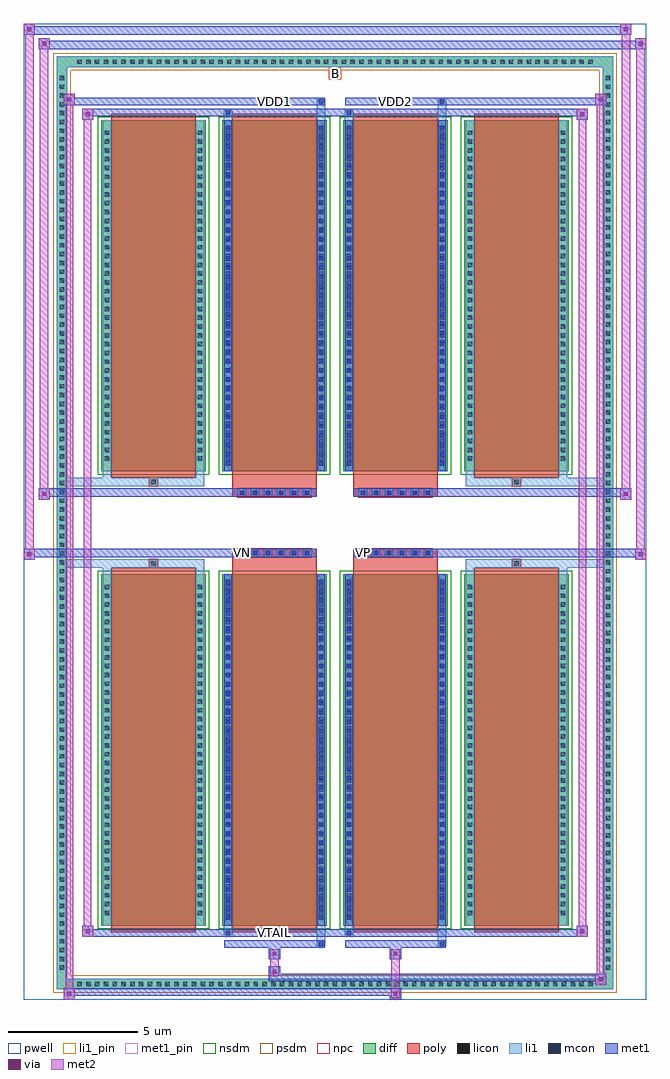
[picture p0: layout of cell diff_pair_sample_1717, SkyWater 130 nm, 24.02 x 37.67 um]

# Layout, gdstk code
import gdstk
lib = gdstk.Library(unit=1e-6, precision=5e-09)
def R(c, l, rs):  # rectangles x0, y0, x1, y1
    for r in rs: c.add(gdstk.rectangle(r[:2], r[2:], *l))
def A(c, l, x, y, w, h, nx, ny, dx, dy):  # array of equal rectangles
    R(c, l, [(x+i*dx, y+j*dy, x+i*dx+w, y+j*dy+h) for i in range(nx) for j in range(ny)])
def P(c, l, *ps):  # polygons
    for p in ps: c.add(gdstk.Polygon(p, *l))
pwell = (64, 44)
diff = (65, 20)
poly = (66, 20)
licon = (66, 44)
li1_pin = (67, 16)
li1 = (67, 20)
mcon = (67, 44)
met1_pin = (68, 16)
met1 = (68, 20)
via = (68, 44)
met2 = (69, 20)
nsdm = (93, 44)
psdm = (94, 20)
npc = (95, 20)

diff_pair_sample_1717 = lib.new_cell('diff_pair_sample_1717')
R(diff_pair_sample_1717, pwell, [(-12.01,-18.4,12.01,19.27), (-9.33,-16.59,-0.01,-0.795), (0.01,-16.59,9.33,-0.795), (-9.33,0.795,-0.01,16.59), (0.01,0.795,9.33,16.59)])
A(diff_pair_sample_1717, diff, -10.065, -18, 0.41, 0.41, 59, 2, 0.34, 35.59)
A(diff_pair_sample_1717, diff, -10.74, -17.375, 0.41, 0.41, 1, 102, 0, 0.34)
A(diff_pair_sample_1717, diff, 10.33, -17.375, 0.41, 0.41, 1, 102, 0, 0.34)
A(diff_pair_sample_1717, diff, -9.02, -15.545, 4.03, 13.56, 4, 2, 4.67, 17.53)
R(diff_pair_sample_1717, diff, [(-10.065,-18,10.065,-17.59), (-10.74,-17.375,-10.33,17.375), (10.33,-17.375,10.74,17.375), (-10.065,17.59,10.065,18)])
P(diff_pair_sample_1717, diff, [(10.74,18),(-10.74,18),(-10.74,-17.59),(-10.33,-17.59),(-10.33,17.59),(10.33,17.59),(10.33,-17.59),(-10.33,-17.59),(-10.74,-17.59),(-10.74,-18),(10.74,-18)])
A(diff_pair_sample_1717, poly, -8.63, -15.795, 3.25, 14.06, 4, 2, 4.67, 17.53)
A(diff_pair_sample_1717, poly, -3.75, -1.325, 0.33, 0.33, 6, 2, 0.5, 2.32)
A(diff_pair_sample_1717, poly, 0.92, -1.325, 0.33, 0.33, 6, 2, 0.5, 2.32)
R(diff_pair_sample_1717, poly, [(-7.17,-1.735,-6.84,-1.405), (-7.17,-1.735,-6.84,-1.405), (-3.96,-1.735,-0.71,-1.325), (0.71,-1.735,3.96,-1.325), (6.84,-1.735,7.17,-1.405), (6.84,-1.735,7.17,-1.405), (-3.96,-1.325,-0.71,-0.995), (0.71,-1.325,3.96,-0.995), (-3.96,0.995,-0.71,1.325), (0.71,0.995,3.96,1.325), (-3.96,1.325,-0.71,1.735), (0.71,1.325,3.96,1.735), (-7.17,1.405,-6.84,1.735), (-7.17,1.405,-6.84,1.735), (6.84,1.405,7.17,1.735), (6.84,1.405,7.17,1.735)])
A(diff_pair_sample_1717, licon, -9.945, -17.88, 0.17, 0.17, 59, 2, 0.34, 35.59)
A(diff_pair_sample_1717, licon, -10.62, -17.255, 0.17, 0.17, 1, 102, 0, 0.34)
A(diff_pair_sample_1717, licon, 10.45, -17.255, 0.17, 0.17, 1, 102, 0, 0.34)
A(diff_pair_sample_1717, licon, -8.88, -15.14, 0.17, 0.17, 1, 38, 0, 0.34)
A(diff_pair_sample_1717, licon, -5.3, -15.14, 0.17, 0.17, 1, 38, 0, 0.34)
A(diff_pair_sample_1717, licon, -4.21, -15.14, 0.17, 0.17, 1, 38, 0, 0.34)
A(diff_pair_sample_1717, licon, -0.63, -15.14, 0.17, 0.17, 1, 38, 0, 0.34)
A(diff_pair_sample_1717, licon, 0.46, -15.14, 0.17, 0.17, 1, 38, 0, 0.34)
A(diff_pair_sample_1717, licon, 4.04, -15.14, 0.17, 0.17, 1, 38, 0, 0.34)
A(diff_pair_sample_1717, licon, 5.13, -15.14, 0.17, 0.17, 1, 38, 0, 0.34)
A(diff_pair_sample_1717, licon, 8.71, -15.14, 0.17, 0.17, 1, 38, 0, 0.34)
A(diff_pair_sample_1717, licon, -3.67, -1.245, 0.17, 0.17, 6, 2, 0.5, 2.32)
A(diff_pair_sample_1717, licon, 1, -1.245, 0.17, 0.17, 6, 2, 0.5, 2.32)
A(diff_pair_sample_1717, licon, -8.88, 2.39, 0.17, 0.17, 1, 38, 0, 0.34)
A(diff_pair_sample_1717, licon, -5.3, 2.39, 0.17, 0.17, 1, 38, 0, 0.34)
A(diff_pair_sample_1717, licon, -4.21, 2.39, 0.17, 0.17, 1, 38, 0, 0.34)
A(diff_pair_sample_1717, licon, -0.63, 2.39, 0.17, 0.17, 1, 38, 0, 0.34)
A(diff_pair_sample_1717, licon, 0.46, 2.39, 0.17, 0.17, 1, 38, 0, 0.34)
A(diff_pair_sample_1717, licon, 4.04, 2.39, 0.17, 0.17, 1, 38, 0, 0.34)
A(diff_pair_sample_1717, licon, 5.13, 2.39, 0.17, 0.17, 1, 38, 0, 0.34)
A(diff_pair_sample_1717, licon, 8.71, 2.39, 0.17, 0.17, 1, 38, 0, 0.34)
R(diff_pair_sample_1717, licon, [(-7.09,-1.655,-6.92,-1.485), (6.92,-1.655,7.09,-1.485), (-7.09,1.485,-6.92,1.655), (6.92,1.485,7.09,1.655)])
R(diff_pair_sample_1717, li1_pin, [(-0.25,17.09,0.25,17.59)])
A(diff_pair_sample_1717, li1, -10.025, -17.96, 0.33, 0.33, 59, 2, 0.34, 35.59)
A(diff_pair_sample_1717, li1, -10.7, -17.335, 0.33, 0.33, 1, 102, 0, 0.34)
A(diff_pair_sample_1717, li1, 10.37, -17.335, 0.33, 0.33, 1, 102, 0, 0.34)
A(diff_pair_sample_1717, li1, -4.21, -15.33, 0.17, 0.17, 1, 37, 0, 0.36)
A(diff_pair_sample_1717, li1, -0.63, -15.33, 0.17, 0.17, 1, 37, 0, 0.36)
A(diff_pair_sample_1717, li1, 0.46, -15.33, 0.17, 0.17, 1, 37, 0, 0.36)
A(diff_pair_sample_1717, li1, 4.04, -15.33, 0.17, 0.17, 1, 37, 0, 0.36)
A(diff_pair_sample_1717, li1, -8.96, -15.22, 0.33, 0.33, 1, 38, 0, 0.34)
A(diff_pair_sample_1717, li1, -5.38, -15.22, 0.33, 0.33, 1, 38, 0, 0.34)
A(diff_pair_sample_1717, li1, -4.29, -15.22, 0.33, 0.33, 1, 38, 0, 0.34)
A(diff_pair_sample_1717, li1, -0.71, -15.22, 0.33, 0.33, 1, 38, 0, 0.34)
A(diff_pair_sample_1717, li1, 0.38, -15.22, 0.33, 0.33, 1, 38, 0, 0.34)
A(diff_pair_sample_1717, li1, 3.96, -15.22, 0.33, 0.33, 1, 38, 0, 0.34)
A(diff_pair_sample_1717, li1, 5.05, -15.22, 0.33, 0.33, 1, 38, 0, 0.34)
A(diff_pair_sample_1717, li1, 8.63, -15.22, 0.33, 0.33, 1, 38, 0, 0.34)
A(diff_pair_sample_1717, li1, -3.75, -1.325, 0.33, 0.33, 6, 2, 0.5, 2.32)
A(diff_pair_sample_1717, li1, 0.92, -1.325, 0.33, 0.33, 6, 2, 0.5, 2.32)
A(diff_pair_sample_1717, li1, -4.21, 2.2, 0.17, 0.17, 1, 37, 0, 0.36)
A(diff_pair_sample_1717, li1, -0.63, 2.2, 0.17, 0.17, 1, 37, 0, 0.36)
A(diff_pair_sample_1717, li1, 0.46, 2.2, 0.17, 0.17, 1, 37, 0, 0.36)
A(diff_pair_sample_1717, li1, 4.04, 2.2, 0.17, 0.17, 1, 37, 0, 0.36)
A(diff_pair_sample_1717, li1, -8.96, 2.31, 0.33, 0.33, 1, 38, 0, 0.34)
A(diff_pair_sample_1717, li1, -5.38, 2.31, 0.33, 0.33, 1, 38, 0, 0.34)
A(diff_pair_sample_1717, li1, -4.29, 2.31, 0.33, 0.33, 1, 38, 0, 0.34)
A(diff_pair_sample_1717, li1, -0.71, 2.31, 0.33, 0.33, 1, 38, 0, 0.34)
A(diff_pair_sample_1717, li1, 0.38, 2.31, 0.33, 0.33, 1, 38, 0, 0.34)
A(diff_pair_sample_1717, li1, 3.96, 2.31, 0.33, 0.33, 1, 38, 0, 0.34)
A(diff_pair_sample_1717, li1, 5.05, 2.31, 0.33, 0.33, 1, 38, 0, 0.34)
A(diff_pair_sample_1717, li1, 8.63, 2.31, 0.33, 0.33, 1, 38, 0, 0.34)
R(diff_pair_sample_1717, li1, [(-10.74,-18,-10.33,-17.59), (-10.74,-18,-10.33,-17.59), (-10.33,-18,10.33,-17.59), (10.33,-18,10.74,-17.59), (10.33,-18,10.74,-17.59), (-10.74,-17.59,-10.33,17.59), (10.33,-17.59,10.74,17.59), (-0.71,-16.35,-0.38,-15.545), (-0.63,-16.35,-0.46,-16.18), (3.96,-16.35,4.29,-15.545), (4.04,-16.35,4.21,-16.18), (-4.29,-15.92,-3.96,-15.545), (-4.21,-15.92,-4.04,-15.75), (0.38,-15.92,0.71,-15.545), (0.46,-15.92,0.63,-15.75), (-8.96,-15.545,-8.63,-1.985), (-5.38,-15.545,-5.05,-1.985), (-4.29,-15.545,-3.96,-1.985), (-0.71,-15.545,-0.38,-1.985), (0.38,-15.545,0.71,-1.985), (3.96,-15.545,4.29,-1.985), (5.05,-15.545,5.38,-1.985), (8.63,-15.545,8.96,-1.985), (-4.21,-15.33,-4.04,-2.2), (-0.63,-15.33,-0.46,-2.2), (0.46,-15.33,0.63,-2.2), (4.04,-15.33,4.21,-2.2), (-8.96,-1.985,-8.63,-1.405), (-5.38,-1.985,-5.05,-1.405), (5.05,-1.985,5.38,-1.405), (8.63,-1.985,8.96,-1.405), (-10.74,-1.735,-7.17,-1.405), (-8.96,-1.735,-7.17,-1.405), (-7.17,-1.735,-6.84,-1.405), (-6.84,-1.735,-5.05,-1.405), (5.05,-1.735,6.84,-1.405), (6.84,-1.735,7.17,-1.405), (6.84,-1.735,10.74,-1.405), (7.17,-1.735,8.96,-1.405), (-10.74,1.405,-7.17,1.735), (-8.96,1.405,-7.17,1.735), (-8.96,1.405,-8.63,1.985), (-7.17,1.405,-6.84,1.735), (-6.84,1.405,-5.05,1.735), (-5.38,1.405,-5.05,1.985), (5.05,1.405,6.84,1.735), (5.05,1.405,5.38,1.985), (6.84,1.405,7.17,1.735), (6.84,1.405,10.74,1.735), (7.17,1.405,8.96,1.735), (8.63,1.405,8.96,1.985), (-8.96,1.985,-8.63,15.545), (-5.38,1.985,-5.05,15.545), (-4.29,1.985,-3.96,15.545), (-0.71,1.985,-0.38,15.545), (0.38,1.985,0.71,15.545), (3.96,1.985,4.29,15.545), (5.05,1.985,5.38,15.545), (8.63,1.985,8.96,15.545), (-4.21,2.2,-4.04,15.33), (-0.63,2.2,-0.46,15.33), (0.46,2.2,0.63,15.33), (4.04,2.2,4.21,15.33), (-4.29,15.545,-3.96,15.92), (-0.71,15.545,-0.38,16.35), (0.38,15.545,0.71,15.92), (3.96,15.545,4.29,16.35), (-4.21,15.75,-4.04,15.92), (0.46,15.75,0.63,15.92), (-0.63,16.18,-0.46,16.35), (4.04,16.18,4.21,16.35), (-10.74,17.59,-10.33,18), (-10.74,17.59,-10.33,18), (-10.33,17.59,10.33,18), (10.33,17.59,10.74,18), (10.33,17.59,10.74,18)])
A(diff_pair_sample_1717, mcon, -4.21, -15.33, 0.17, 0.17, 1, 37, 0, 0.36)
A(diff_pair_sample_1717, mcon, -0.63, -15.33, 0.17, 0.17, 1, 37, 0, 0.36)
A(diff_pair_sample_1717, mcon, 0.46, -15.33, 0.17, 0.17, 1, 37, 0, 0.36)
A(diff_pair_sample_1717, mcon, 4.04, -15.33, 0.17, 0.17, 1, 37, 0, 0.36)
A(diff_pair_sample_1717, mcon, -3.67, -1.245, 0.17, 0.17, 6, 2, 0.5, 2.32)
A(diff_pair_sample_1717, mcon, 1, -1.245, 0.17, 0.17, 6, 2, 0.5, 2.32)
A(diff_pair_sample_1717, mcon, -4.21, 2.2, 0.17, 0.17, 1, 37, 0, 0.36)
A(diff_pair_sample_1717, mcon, -0.63, 2.2, 0.17, 0.17, 1, 37, 0, 0.36)
A(diff_pair_sample_1717, mcon, 0.46, 2.2, 0.17, 0.17, 1, 37, 0, 0.36)
A(diff_pair_sample_1717, mcon, 4.04, 2.2, 0.17, 0.17, 1, 37, 0, 0.36)
R(diff_pair_sample_1717, mcon, [(-0.63,-16.35,-0.46,-16.18), (4.04,-16.35,4.21,-16.18), (-4.21,-15.92,-4.04,-15.75), (0.46,-15.92,0.63,-15.75), (-4.21,15.75,-4.04,15.92), (0.46,15.75,0.63,15.92), (-0.63,16.18,-0.46,16.35), (4.04,16.18,4.21,16.35)])
R(diff_pair_sample_1717, met1_pin, [(-2.47,-15.96,-2.2,-15.69), (-3.72,-1.285,-3.45,-1.015), (0.95,-1.285,1.22,-1.015), (-2.47,16.14,-2.2,16.41), (2.2,16.14,2.47,16.41)])
A(diff_pair_sample_1717, met1, -4.27, -15.39, 0.29, 0.29, 1, 37, 0, 0.36)
A(diff_pair_sample_1717, met1, -0.69, -15.39, 0.29, 0.29, 1, 37, 0, 0.36)
A(diff_pair_sample_1717, met1, 0.4, -15.39, 0.29, 0.29, 1, 37, 0, 0.36)
A(diff_pair_sample_1717, met1, 3.98, -15.39, 0.29, 0.29, 1, 37, 0, 0.36)
A(diff_pair_sample_1717, met1, -3.73, -1.305, 0.29, 0.29, 6, 2, 0.5, 2.32)
A(diff_pair_sample_1717, met1, 0.94, -1.305, 0.29, 0.29, 6, 2, 0.5, 2.32)
A(diff_pair_sample_1717, met1, -4.27, 2.14, 0.29, 0.29, 1, 37, 0, 0.36)
A(diff_pair_sample_1717, met1, -0.69, 2.14, 0.29, 0.29, 1, 37, 0, 0.36)
A(diff_pair_sample_1717, met1, 0.4, 2.14, 0.29, 0.29, 1, 37, 0, 0.36)
A(diff_pair_sample_1717, met1, 3.98, 2.14, 0.29, 0.29, 1, 37, 0, 0.36)
R(diff_pair_sample_1717, met1, [(-10.47,-18.4,-10.04,-17.97), (2.12,-18.4,2.55,-17.97), (-10.47,-18.26,2.55,-17.97), (10.04,-17.83,10.47,-17.4), (-2.55,-17.69,10.47,-17.4), (-2.55,-17.55,-2.12,-17.12), (-2.55,-16.84,-2.12,-16.41), (2.12,-16.84,2.55,-16.41), (-4.27,-16.41,-0.4,-16.12), (-0.69,-16.41,-0.4,-16.12), (0.4,-16.41,4.27,-16.12), (3.98,-16.41,4.27,-16.12), (-9.76,-15.98,-9.33,-15.55), (-9.76,-15.98,-4.27,-15.69), (-4.27,-15.98,-3.98,-15.69), (-4.27,-15.98,-0.4,-15.69), (-0.4,-15.98,0.4,-15.69), (0.4,-15.98,0.69,-15.69), (0.4,-15.98,4.27,-15.69), (4.27,-15.98,9.76,-15.69), (9.33,-15.98,9.76,-15.55), (-4.27,-15.545,-3.98,-1.985), (-0.69,-15.545,-0.4,-1.985), (0.4,-15.545,0.69,-1.985), (3.98,-15.545,4.27,-1.985), (-12.01,-1.425,-11.58,-0.995), (11.58,-1.425,12.01,-0.995), (-12.01,-1.325,-0.71,-0.995), (-3.96,-1.325,-0.71,-0.995), (0.71,-1.325,3.96,-0.995), (0.71,-1.325,12.01,-0.995), (-11.44,0.895,-11.01,1.325), (11.01,0.895,11.44,1.325), (-11.44,0.995,-3.96,1.325), (-3.96,0.995,-0.71,1.325), (0.71,0.995,3.96,1.325), (3.96,0.995,11.44,1.325), (-4.27,1.985,-3.98,15.545), (-0.69,1.985,-0.4,15.545), (0.4,1.985,0.69,15.545), (3.98,1.985,4.27,15.545), (-9.76,15.55,-9.33,15.98), (9.33,15.55,9.76,15.98), (-9.76,15.69,-4.27,15.98), (-4.27,15.69,-3.98,15.98), (-4.27,15.69,-0.4,15.98), (-0.4,15.69,0.4,15.98), (0.4,15.69,0.69,15.98), (0.4,15.69,4.27,15.98), (4.27,15.69,9.76,15.98), (-10.47,16.12,-10.04,16.55), (-10.47,16.12,-4.27,16.41), (-4.27,16.12,-0.4,16.41), (-0.69,16.12,-0.4,16.41), (0.4,16.12,4.27,16.41), (3.98,16.12,4.27,16.41), (4.27,16.12,10.47,16.41), (10.04,16.12,10.47,16.55), (-11.44,18.27,-11.01,18.7), (-11.44,18.27,-9.33,18.6), (-9.33,18.27,9.33,18.6), (9.33,18.27,12.01,18.6), (11.58,18.27,12.01,18.7), (-12.01,18.84,-11.58,19.27), (-12.01,18.84,-9.33,19.17), (-9.33,18.84,9.33,19.17), (9.33,18.84,11.44,19.17), (11.01,18.84,11.44,19.27)])
R(diff_pair_sample_1717, via, [(-10.33,-18.26,-10.18,-18.11), (2.26,-18.26,2.41,-18.11), (10.18,-17.69,10.33,-17.54), (-2.41,-17.41,-2.26,-17.26), (-2.41,-16.7,-2.26,-16.55), (2.26,-16.7,2.41,-16.55), (-9.62,-15.84,-9.47,-15.69), (9.47,-15.84,9.62,-15.69), (-11.87,-1.285,-11.72,-1.135), (11.72,-1.285,11.87,-1.135), (-11.3,1.035,-11.15,1.185), (11.15,1.035,11.3,1.185), (-9.62,15.69,-9.47,15.84), (9.47,15.69,9.62,15.84), (-10.33,16.26,-10.18,16.41), (10.18,16.26,10.33,16.41), (-11.3,18.41,-11.15,18.56), (11.72,18.41,11.87,18.56), (-11.87,18.98,-11.72,19.13), (11.15,18.98,11.3,19.13)])
R(diff_pair_sample_1717, met2, [(-10.47,-18.4,-10.04,-17.97), (-10.4,-18.4,-10.11,16.55), (-10.11,-18.4,-10.04,-17.97), (-10.42,-18.35,-10.09,-18.02), (2.17,-18.35,2.5,-18.02), (2.17,-18.02,2.5,-16.79), (10.04,-17.83,10.47,-17.4), (10.11,-17.83,10.4,16.55), (10.4,-17.83,10.47,-17.4), (10.09,-17.78,10.42,-17.45), (-2.5,-17.5,-2.17,-17.17), (-2.5,-17.17,-2.17,-16.79), (-2.5,-16.79,-2.17,-16.46), (2.17,-16.79,2.5,-16.46), (-9.76,-15.98,-9.33,-15.55), (-9.69,-15.98,-9.4,15.98), (-9.4,-15.98,-9.33,-15.55), (9.33,-15.98,9.76,-15.55), (9.4,-15.98,9.69,15.98), (9.69,-15.98,9.76,-15.55), (-9.71,-15.93,-9.38,-15.6), (9.38,-15.93,9.71,-15.6), (-12.01,-1.425,-11.58,-0.995), (-11.96,-1.425,-11.63,19.27), (-11.63,-1.425,-11.58,-0.995), (11.58,-1.425,12.01,-0.995), (11.63,-1.425,11.96,18.7), (11.96,-1.425,12.01,-0.995), (-11.96,-1.375,-11.63,-1.045), (11.63,-1.375,11.96,-1.045), (-11.44,0.895,-11.01,1.325), (-11.39,0.895,-11.06,18.7), (-11.06,0.895,-11.01,1.325), (11.01,0.895,11.44,1.325), (11.06,0.895,11.39,19.27), (11.39,0.895,11.44,1.325), (-11.39,0.945,-11.06,1.275), (11.06,0.945,11.39,1.275), (-9.76,15.55,-9.33,15.98), (-9.4,15.55,-9.33,15.98), (9.33,15.55,9.76,15.98), (9.69,15.55,9.76,15.98), (-9.71,15.6,-9.38,15.93), (9.38,15.6,9.71,15.93), (-10.47,16.12,-10.04,16.55), (-10.11,16.12,-10.04,16.55), (10.04,16.12,10.47,16.55), (10.4,16.12,10.47,16.55), (-10.42,16.17,-10.09,16.5), (10.09,16.17,10.42,16.5), (-11.44,18.27,-11.01,18.7), (-11.06,18.27,-11.01,18.7), (11.58,18.27,12.01,18.7), (11.96,18.27,12.01,18.7), (-11.39,18.32,-11.06,18.65), (11.63,18.32,11.96,18.65), (-12.01,18.84,-11.58,19.27), (-11.63,18.84,-11.58,19.27), (11.01,18.84,11.44,19.27), (11.39,18.84,11.44,19.27), (-11.96,18.89,-11.63,19.22), (11.06,18.89,11.39,19.22)])
A(diff_pair_sample_1717, nsdm, -9.15, -15.675, 4.29, 13.82, 4, 2, 4.67, 17.53)
P(diff_pair_sample_1717, psdm, [(10.87,18.13),(-10.87,18.13),(-10.87,-17.46),(-10.2,-17.46),(-10.2,17.46),(10.2,17.46),(10.2,-17.46),(-10.2,-17.46),(-10.87,-17.46),(-10.87,-18.13),(10.87,-18.13)])
A(diff_pair_sample_1717, npc, -3.77, -1.345, 0.37, 0.37, 6, 2, 0.5, 2.32)
A(diff_pair_sample_1717, npc, 0.9, -1.345, 0.37, 0.37, 6, 2, 0.5, 2.32)
R(diff_pair_sample_1717, npc, [(-7.19,-1.755,-6.82,-1.385), (6.82,-1.755,7.19,-1.385), (-3.77,-1.345,-2.9,-0.975), (-3.77,-1.345,-2.9,-0.975), (-3.27,-1.345,-2.4,-0.975), (-3.27,-1.345,-2.4,-0.975), (-2.77,-1.345,-1.9,-0.975), (-2.77,-1.345,-1.9,-0.975), (-2.27,-1.345,-1.4,-0.975), (-2.27,-1.345,-1.4,-0.975), (-1.77,-1.345,-0.9,-0.975), (-1.77,-1.345,-0.9,-0.975), (0.9,-1.345,1.77,-0.975), (0.9,-1.345,1.77,-0.975), (1.4,-1.345,2.27,-0.975), (1.4,-1.345,2.27,-0.975), (1.9,-1.345,2.77,-0.975), (1.9,-1.345,2.77,-0.975), (2.4,-1.345,3.27,-0.975), (2.4,-1.345,3.27,-0.975), (2.9,-1.345,3.77,-0.975), (2.9,-1.345,3.77,-0.975), (-3.77,0.975,-2.9,1.345), (-3.77,0.975,-2.9,1.345), (-3.27,0.975,-2.4,1.345), (-3.27,0.975,-2.4,1.345), (-2.77,0.975,-1.9,1.345), (-2.77,0.975,-1.9,1.345), (-2.27,0.975,-1.4,1.345), (-2.27,0.975,-1.4,1.345), (-1.77,0.975,-0.9,1.345), (-1.77,0.975,-0.9,1.345), (0.9,0.975,1.77,1.345), (0.9,0.975,1.77,1.345), (1.4,0.975,2.27,1.345), (1.4,0.975,2.27,1.345), (1.9,0.975,2.77,1.345), (1.9,0.975,2.77,1.345), (2.4,0.975,3.27,1.345), (2.4,0.975,3.27,1.345), (2.9,0.975,3.77,1.345), (2.9,0.975,3.77,1.345), (-7.19,1.385,-6.82,1.755), (6.82,1.385,7.19,1.755)])
diff_pair_sample_1717.add(gdstk.Label('VTAIL', (-2.335,-15.825), layer=68, texttype=5))
diff_pair_sample_1717.add(gdstk.Label('VN', (-3.585,-1.15), layer=68, texttype=5))
diff_pair_sample_1717.add(gdstk.Label('VP', (1.085,-1.15), layer=68, texttype=5))
diff_pair_sample_1717.add(gdstk.Label('B', (0,17.34), layer=67, texttype=5))
diff_pair_sample_1717.add(gdstk.Label('VDD2', (2.335,16.275), layer=68, texttype=5))
diff_pair_sample_1717.add(gdstk.Label('VDD1', (-2.335,16.275), layer=68, texttype=5))

lib.write_gds('diff_pair_sample_1717.gds')
